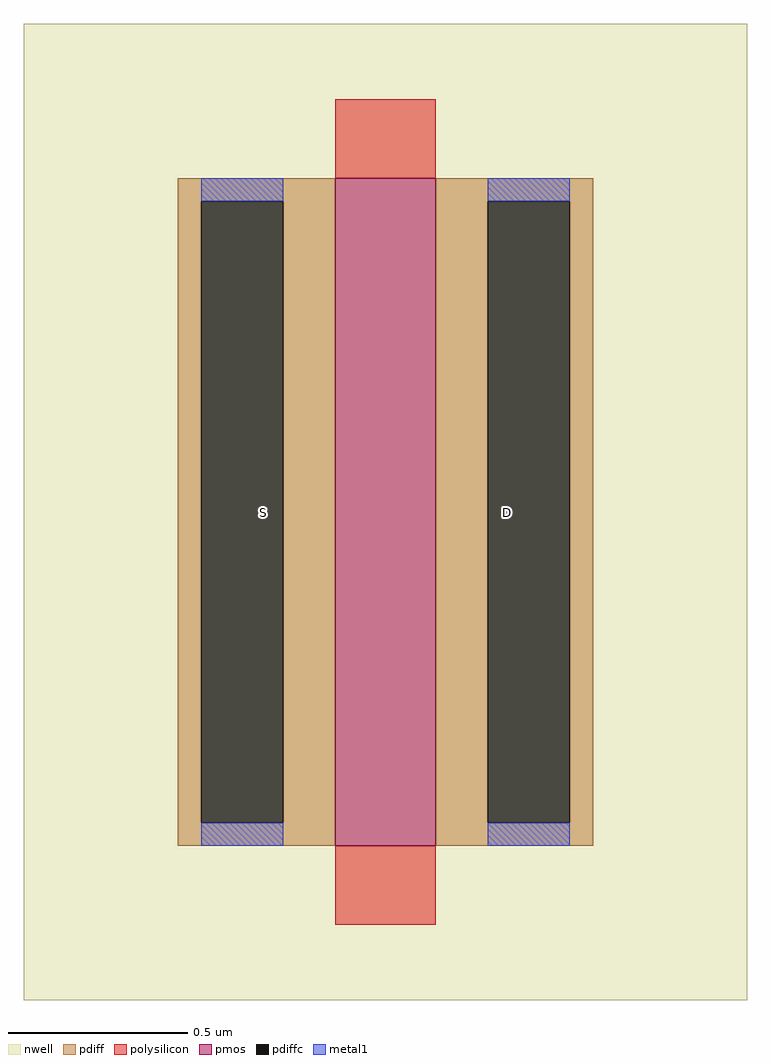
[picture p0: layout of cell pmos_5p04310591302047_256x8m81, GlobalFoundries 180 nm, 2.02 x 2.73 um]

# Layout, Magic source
magic
tech gf180mcuD
magscale 1 10
<< nwell >>
rect -174 -86 230 459
<< pmos >>
rect 0 0 56 373
<< pdiff >>
rect -88 360 0 373
rect -88 13 -75 360
rect -29 13 0 360
rect -88 0 0 13
rect 56 360 144 373
rect 56 13 85 360
rect 131 13 144 360
rect 56 0 144 13
<< pdiffc >>
rect -75 13 -29 360
rect 85 13 131 360
<< polysilicon >>
rect 0 373 56 417
rect 0 -44 56 0
<< metal1 >>
rect -75 360 -29 373
rect -75 0 -29 13
rect 85 360 131 373
rect 85 0 131 13
<< labels >>
flabel pdiffc -40 186 -40 186 0 FreeSans 186 0 0 0 S
flabel pdiffc 96 186 96 186 0 FreeSans 186 0 0 0 D
<< end >>
